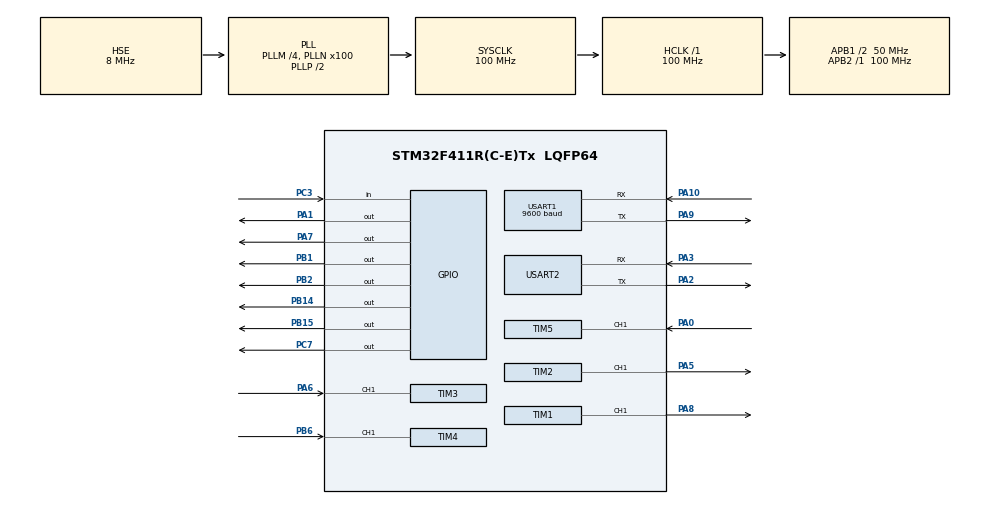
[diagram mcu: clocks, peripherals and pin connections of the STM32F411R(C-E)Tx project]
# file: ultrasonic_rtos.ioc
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Dma.Request0=USART1_RX
Dma.USART1_RX.0.Direction=DMA_PERIPH_TO_MEMORY
Dma.USART1_RX.0.FIFOMode=DMA_FIFOMODE_DISABLE
Dma.USART1_RX.0.Instance=DMA2_Stream2
Dma.USART1_RX.0.MemDataAlignment=DMA_MDATAALIGN_BYTE
Dma.USART1_RX.0.MemInc=DMA_MINC_ENABLE
Dma.USART1_RX.0.Mode=DMA_NORMAL
Dma.USART1_RX.0.PeriphDataAlignment=DMA_PDATAALIGN_BYTE
Dma.USART1_RX.0.PeriphInc=DMA_PINC_DISABLE
Dma.USART1_RX.0.Priority=DMA_PRIORITY_LOW
FREERTOS.Tasks01=defaultTask,24,128,StartDefaultTask,Default,NULL,Dynamic,NULL,NULL;distance1,8,128,distanceTask1,Default,NULL,Dynamic,NULL,NULL;distance2,8,128,distanceTask2,Default,NULL,Dynamic,NULL,NULL;distance3,8,128,distanceTask3,Default,NULL,Dynamic,NULL,NULL
FREERTOS.configUSE_NEWLIB_REENTRANT=1
Mcu.Family=STM32F4
Mcu.Name=STM32F411R(C-E)Tx
Mcu.Package=LQFP64
NVIC.DMA2_Stream2_IRQn=true\:5\:0\:false\:false\:true\:true\:false\:true\:true
NVIC.PriorityGroup=NVIC_PRIORITYGROUP_4
NVIC.TIM1_BRK_TIM9_IRQn=true\:15\:0\:false\:false\:true\:false\:false\:true\:true
NVIC.TIM3_IRQn=true\:5\:0\:false\:false\:true\:true\:true\:true\:true
NVIC.TIM4_IRQn=true\:5\:0\:false\:false\:true\:true\:true\:true\:true
NVIC.TIM5_IRQn=true\:5\:0\:false\:false\:true\:true\:true\:true\:true
NVIC.TimeBase=TIM1_BRK_TIM9_IRQn
NVIC.TimeBaseIP=TIM9
PA0-WKUP.Signal=S_TIM5_CH1
PA1.Signal=GPIO_Output
PA10.Mode=Asynchronous
PA10.Signal=USART1_RX
PA13.Mode=Serial_Wire
PA13.Signal=SYS_JTMS-SWDIO
PA14.Mode=Serial_Wire
PA14.Signal=SYS_JTCK-SWCLK
PA2.Mode=Asynchronous
PA2.Signal=USART2_TX
PA3.Mode=Asynchronous
PA3.Signal=USART2_RX
PA5.Signal=S_TIM2_CH1_ETR
PA6.Signal=S_TIM3_CH1
PA7.Signal=GPIO_Output
PA8.Signal=S_TIM1_CH1
PA9.Mode=Asynchronous
PA9.Signal=USART1_TX
PB1.Signal=GPIO_Output
PB14.Signal=GPIO_Output
PB15.Signal=GPIO_Output
PB2.Signal=GPIO_Output
PB6.Signal=S_TIM4_CH1
PC3.Signal=GPIO_Input
PC7.Signal=GPIO_Output
PH0\ -\ OSC_IN.Mode=HSE-External-Oscillator
PH0\ -\ OSC_IN.Signal=RCC_OSC_IN
PH1\ -\ OSC_OUT.Mode=HSE-External-Oscillator
PH1\ -\ OSC_OUT.Signal=RCC_OSC_OUT
ProjectManager.HeapSize=0x200
ProjectManager.StackSize=0x400
ProjectManager.TargetToolchain=STM32CubeIDE
RCC.48MHZClocksFreq_Value=50000000
RCC.AHBFreq_Value=100000000
RCC.APB1CLKDivider=RCC_HCLK_DIV2
RCC.APB1Freq_Value=50000000
RCC.APB1TimFreq_Value=100000000
RCC.APB2Freq_Value=100000000
RCC.APB2TimFreq_Value=100000000
RCC.CortexFreq_Value=100000000
RCC.HCLKFreq_Value=100000000
RCC.HSE_VALUE=8000000
RCC.HSI_VALUE=16000000
RCC.LSE_VALUE=32768
RCC.PLLM=4
RCC.PLLN=100
RCC.PLLSourceVirtual=RCC_PLLSOURCE_HSE
RCC.SYSCLKFreq_VALUE=100000000
RCC.SYSCLKSource=RCC_SYSCLKSOURCE_PLLCLK
RCC.VCOOutputFreq_Value=200000000
SH.S_TIM1_CH1.0=TIM1_CH1,PWM Generation1 CH1
SH.S_TIM2_CH1_ETR.0=TIM2_CH1,PWM Generation1 CH1
SH.S_TIM3_CH1.0=TIM3_CH1,Input_Capture1_from_TI1
SH.S_TIM4_CH1.0=TIM4_CH1,Input_Capture1_from_TI1
SH.S_TIM5_CH1.0=TIM5_CH1,Input_Capture1_from_TI1
TIM1.Channel-PWM\ Generation1\ CH1=TIM_CHANNEL_1
TIM1.Period=1000-1
TIM1.Prescaler=1000-1
TIM10.AutoReloadPreload=TIM_AUTORELOAD_PRELOAD_ENABLE
TIM10.Period=10000-1
TIM10.Prescaler=10000-1
TIM11.Period=100-1
TIM11.Prescaler=100-1
TIM2.Channel-PWM\ Generation1\ CH1=TIM_CHANNEL_1
TIM2.Period=1000-1
TIM2.Prescaler=1000-1
TIM3.Channel-Input_Capture1_from_TI1=TIM_CHANNEL_1
TIM3.ICFilter_CH1=15
TIM3.Prescaler=100-1
TIM4.Channel-Input_Capture1_from_TI1=TIM_CHANNEL_1
TIM4.ICFilter_CH1=15
TIM4.Prescaler=100-1
TIM5.Channel-Input_Capture1_from_TI1=TIM_CHANNEL_1
TIM5.ICFilter_CH1=15
TIM5.Prescaler=100-1
USART1.BaudRate=9600
USART1.VirtualMode=VM_ASYNC
USART2.VirtualMode=VM_ASYNC
VP_FREERTOS_VS_CMSIS_V2.Mode=CMSIS_V2
VP_SYS_VS_tim9.Mode=TIM9
VP_TIM10_VS_ClockSourceINT.Mode=Enable_Timer
VP_TIM11_VS_ClockSourceINT.Mode=Enable_Timer
VP_TIM1_VS_ClockSourceINT.Mode=Internal
VP_TIM2_VS_ClockSourceINT.Mode=Internal
VP_TIM3_VS_ClockSourceINT.Mode=Internal
VP_TIM4_VS_ClockSourceINT.Mode=Internal
VP_TIM5_VS_ClockSourceINT.Mode=Internal
board=custom

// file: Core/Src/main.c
/* USER CODE BEGIN Header */
/**
  ******************************************************************************
  * @file           : main.c
  * @brief          : Main program body
  ******************************************************************************
  * @attention
  *
  * Copyright (c) 2024 STMicroelectronics.
  * All rights reserved.
  *
  * This software is licensed under terms that can be found in the LICENSE file
  * in the root directory of this software component.
  * If no LICENSE file comes with this software, it is provided AS-IS.
  *
  ******************************************************************************
  */
/* USER CODE END Header */
#include "main.h"
#include "cmsis_os.h"
#include "dma.h"
#include "tim.h"
#include "usart.h"
#include "gpio.h"

/* USER CODE BEGIN PV */
//uint8_t rxData[1];
/* USER CODE END PV */

void SystemClock_Config(void);
void MX_FREERTOS_Init(void);
/* USER CODE BEGIN PFP */
//void HAL_UART_RxCpltCallback(UART_HandleTypeDef *huart)
//{
//	HAL_UART_Receive_DMA(&huart1, rxData, sizeof(rxData));
//}
/* USER CODE END PFP */

int main(void)
{

  /* MCU Configuration--------------------------------------------------------*/

  /* Reset of all peripherals, Initializes the Flash interface and the Systick. */
  HAL_Init();

  /* Configure the system clock */
  SystemClock_Config();

  /* Initialize all configured peripherals */
  MX_GPIO_Init();
  MX_DMA_Init();
  MX_TIM1_Init();
  MX_TIM2_Init();
  MX_TIM3_Init();
  MX_TIM4_Init();
  MX_TIM5_Init();
  MX_USART1_UART_Init();
  MX_USART2_UART_Init();
  MX_TIM11_Init();
  MX_TIM10_Init();
  /* USER CODE BEGIN 2 */

//  HAL_UART_Receive_DMA(&huart1, rxData, sizeof(rxData));

  HAL_TIM_PWM_Start(&htim1, TIM_CHANNEL_1);
  HAL_TIM_PWM_Start(&htim2, TIM_CHANNEL_1);

  HAL_TIM_IC_Start_IT(&htim3, TIM_CHANNEL_1);
  HAL_TIM_IC_Start_IT(&htim4, TIM_CHANNEL_1);
  HAL_TIM_IC_Start_IT(&htim5, TIM_CHANNEL_1);

  HAL_TIM_Base_Start(&htim10);

  HAL_TIM_Base_Start_IT(&htim11);

  /* USER CODE END 2 */

  /* Init scheduler */
  osKernelInitialize();

  /* Call init function for freertos objects (in freertos.c) */
  MX_FREERTOS_Init();

  /* Start scheduler */
  osKernelStart();

  /* We should never get here as control is now taken by the scheduler */
  /* Infinite loop */
  while (1)
  {

  }
}

void SystemClock_Config(void)
{
  RCC_OscInitTypeDef RCC_OscInitStruct = {0};
  RCC_ClkInitTypeDef RCC_ClkInitStruct = {0};

  /** Configure the main internal regulator output voltage
  */
  __HAL_RCC_PWR_CLK_ENABLE();
  __HAL_PWR_VOLTAGESCALING_CONFIG(PWR_REGULATOR_VOLTAGE_SCALE1);

  /** Initializes the RCC Oscillators according to the specified parameters
  * in the RCC_OscInitTypeDef structure.
  */
  RCC_OscInitStruct.OscillatorType = RCC_OSCILLATORTYPE_HSE;
  RCC_OscInitStruct.HSEState = RCC_HSE_ON;
  RCC_OscInitStruct.PLL.PLLState = RCC_PLL_ON;
  RCC_OscInitStruct.PLL.PLLSource = RCC_PLLSOURCE_HSE;
  RCC_OscInitStruct.PLL.PLLM = 4;
  RCC_OscInitStruct.PLL.PLLN = 100;
  RCC_OscInitStruct.PLL.PLLP = RCC_PLLP_DIV2;
  RCC_OscInitStruct.PLL.PLLQ = 4;
  if (HAL_RCC_OscConfig(&RCC_OscInitStruct) != HAL_OK)
  {
    Error_Handler();
  }

  /** Initializes the CPU, AHB and APB buses clocks
  */
  RCC_ClkInitStruct.ClockType = RCC_CLOCKTYPE_HCLK|RCC_CLOCKTYPE_SYSCLK
                              |RCC_CLOCKTYPE_PCLK1|RCC_CLOCKTYPE_PCLK2;
  RCC_ClkInitStruct.SYSCLKSource = RCC_SYSCLKSOURCE_PLLCLK;
  RCC_ClkInitStruct.AHBCLKDivider = RCC_SYSCLK_DIV1;
  RCC_ClkInitStruct.APB1CLKDivider = RCC_HCLK_DIV2;
  RCC_ClkInitStruct.APB2CLKDivider = RCC_HCLK_DIV1;

  if (HAL_RCC_ClockConfig(&RCC_ClkInitStruct, FLASH_LATENCY_3) != HAL_OK)
  {
    Error_Handler();
  }
}

void HAL_TIM_PeriodElapsedCallback(TIM_HandleTypeDef *htim)
{
  if (htim->Instance == TIM9) {
    HAL_IncTick();
  }
}

void Error_Handler(void)
{
  __disable_irq();
  while (1)
  {
  }
}

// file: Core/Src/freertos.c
/* USER CODE BEGIN Header */
/**
  ******************************************************************************
  * File Name          : freertos.c
  * Description        : Code for freertos applications
  ******************************************************************************
  * @attention
  *
  * Copyright (c) 2024 STMicroelectronics.
  * All rights reserved.
  *
  * This software is licensed under terms that can be found in the LICENSE file
  * in the root directory of this software component.
  * If no LICENSE file comes with this software, it is provided AS-IS.
  *
  ******************************************************************************
  */
/* USER CODE END Header */

#include "FreeRTOS.h"
#include "task.h"
#include "main.h"
#include "cmsis_os.h"

/* USER CODE BEGIN Includes */
#include "delay.h"
#include "stdio.h"
#include "math.h"
#include "usart.h"
#include "Button.h"
/* USER CODE END Includes */

/* USER CODE BEGIN PTD */
#ifdef __GNUC__
  /* With GCC, small printf (option LD Linker->Libraries->Small printf
     set to 'Yes') calls __io_putchar() */
  #define PUTCHAR_PROTOTYPE int __io_putchar(int ch)
#else
  #define PUTCHAR_PROTOTYPE int fputc(int ch, FILE *f)
#endif /* __GNUC__ */

PUTCHAR_PROTOTYPE
{
  /* Place your implementation of fputc here */
  /* e.g. write a character to the EVAL_COM1 and Loop until the end of transmission */
  HAL_UART_Transmit(&huart2, (uint8_t*)&ch, 1, 0xFFFF);
  HAL_UART_Transmit(&huart1, (uint8_t*) &ch, 1, 0xFFFF);

  return ch;
}

//#define babybird
#define eagle
/* USER CODE END PTD */

/* USER CODE BEGIN Variables */
uint32_t INC_Value11 = 0;
uint32_t INC_Value12 = 0;

uint32_t INC_Value21 = 0;
uint32_t INC_Value22= 0;

uint32_t INC_Value31= 0;
uint32_t INC_Value32 = 0;

uint32_t echoTime1 = 0;
uint32_t echoTime2 = 0;
uint32_t echoTime3 = 0;

uint8_t captureFlag1 = 0;
uint8_t captureFlag2 = 0;
uint8_t captureFlag3 = 0;

uint8_t distance1  = 0;
uint8_t distance2  = 0;
uint8_t distance3  = 0;

uint8_t rxData[1];

#ifdef babybird
int mode = 1;
int SPEED = 300;
#endif

#ifdef eagle
int mode = 0;
int SPEED = 480;
#endif

volatile uint32_t counter;

int set_back_flag = 0;
char flag[15] = "INIT";

int cnt = 0;

/* USER CODE END Variables */
/* Definitions for defaultTask */
osThreadId_t defaultTaskHandle;
const osThreadAttr_t defaultTask_attributes = {
  .name = "defaultTask",
  .stack_size = 128 * 4,
  .priority = (osPriority_t) osPriorityNormal,
};
/* Definitions for distance1 */
osThreadId_t distance1Handle;
const osThreadAttr_t distance1_attributes = {
  .name = "distance1",
  .stack_size = 128 * 4,
  .priority = (osPriority_t) osPriorityLow,
};
/* Definitions for distance2 */
osThreadId_t distance2Handle;
const osThreadAttr_t distance2_attributes = {
  .name = "distance2",
  .stack_size = 128 * 4,
  .priority = (osPriority_t) osPriorityLow,
};
/* Definitions for distance3 */
osThreadId_t distance3Handle;
const osThreadAttr_t distance3_attributes = {
  .name = "distance3",
  .stack_size = 128 * 4,
  .priority = (osPriority_t) osPriorityLow,
};

/* USER CODE BEGIN FunctionPrototypes */

void HAL_TIM_IC_CaptureCallback(TIM_HandleTypeDef *htim)
{
    if (htim == &htim3)  // if the interrupt source is channel1
    {
        if (captureFlag1 == 0) // if the first value is not captured
        {
          INC_Value11 = HAL_TIM_ReadCapturedValue(htim, TIM_CHANNEL_1); // read the first value
          captureFlag1 = 1;  // set the first captured as true

            // Now change the polarity to falling edge
            __HAL_TIM_SET_CAPTUREPOLARITY(htim, TIM_CHANNEL_1, TIM_INPUTCHANNELPOLARITY_FALLING);
        }

        else if (captureFlag1 == 1)   // if the first is already captured
        {
          INC_Value12 = HAL_TIM_ReadCapturedValue(htim, TIM_CHANNEL_1);  // read second value
            __HAL_TIM_SET_COUNTER(htim, 0);  // reset the counter

            if (INC_Value12 > INC_Value11)
            {
              echoTime1 = INC_Value12-INC_Value11;
            }

            else if (INC_Value11 > INC_Value12)
            {
              echoTime1 = (0xffff - INC_Value11) + INC_Value12;
            }

            //distance = echoTime * .034/2;
            distance1 = echoTime1 / 58;
            captureFlag1 = 0; // set it back to false

            // set polarity to rising edge
            __HAL_TIM_SET_CAPTUREPOLARITY(htim, TIM_CHANNEL_1, TIM_INPUTCHANNELPOLARITY_RISING);
            __HAL_TIM_DISABLE_IT(htim, TIM_IT_CC1);
        }
    }
    else if (htim == &htim4)  // if the interrupt source is channel1
	{
		if (captureFlag2 == 0) // if the first value is not captured
		{
		  INC_Value21 = HAL_TIM_ReadCapturedValue(htim, TIM_CHANNEL_1); // read the first value
		  captureFlag2 = 1;  // set the first captured as true

			// Now change the polarity to falling edge
			__HAL_TIM_SET_CAPTUREPOLARITY(htim, TIM_CHANNEL_1, TIM_INPUTCHANNELPOLARITY_FALLING);
		}

		else if (captureFlag2 == 1)   // if the first is already captured
		{
		  INC_Value22 = HAL_TIM_ReadCapturedValue(htim, TIM_CHANNEL_1);  // read second value
			__HAL_TIM_SET_COUNTER(htim, 0);  // reset the counter

			if (INC_Value22 > INC_Value21)
			{
			  echoTime2 = INC_Value22 - INC_Value21;
			}

			else if (INC_Value21 > INC_Value22)
			{
			  echoTime2 = (0xffff - INC_Value21) + INC_Value22;
			}

			//distance = echoTime * .034/2;
			distance2 = echoTime2 / 58;
			captureFlag2 = 0; // set it back to false

			// set polarity to rising edge
			__HAL_TIM_SET_CAPTUREPOLARITY(htim, TIM_CHANNEL_1, TIM_INPUTCHANNELPOLARITY_RISING);
			__HAL_TIM_DISABLE_IT(htim, TIM_IT_CC1);
		}
	}
    else if (htim == &htim5)  // if the interrupt source is channel1
	{
		if (captureFlag3 == 0) // if the first value is not captured
		{
		    INC_Value31 = HAL_TIM_ReadCapturedValue(htim, TIM_CHANNEL_1); // read the first value
		    captureFlag3 = 1;  // set the first captured as true

			// Now change the polarity to falling edge
			__HAL_TIM_SET_CAPTUREPOLARITY(htim, TIM_CHANNEL_1, TIM_INPUTCHANNELPOLARITY_FALLING);
		}

		else if (captureFlag3 == 1)   // if the first is already captured
		{
		    INC_Value32 = HAL_TIM_ReadCapturedValue(htim, TIM_CHANNEL_1);  // read second value
			__HAL_TIM_SET_COUNTER(htim, 0);  // reset the counter

			if (INC_Value32 > INC_Value31)
			{
			  echoTime3 = INC_Value32-INC_Value31;
			}

			else if (INC_Value31 > INC_Value32)
			{
			  echoTime3 = (0xffff - INC_Value31) + INC_Value32;
			}

			//distance = echoTime * .034/2;
			distance3 = echoTime3 / 58;
			captureFlag3 = 0; // set it back to false

			// set polarity to rising edge
			__HAL_TIM_SET_CAPTUREPOLARITY(htim, TIM_CHANNEL_1, TIM_INPUTCHANNELPOLARITY_RISING);
			__HAL_TIM_DISABLE_IT(htim, TIM_IT_CC1);
		}
	}
}

void HCSR04_Read (GPIO_TypeDef* port, uint16_t pin, TIM_HandleTypeDef* htim)
{
    HAL_GPIO_WritePin(port, pin, GPIO_PIN_SET);  // pull the TRIG pin HIGH
    delay_us(10);  // wait for 10 us
    HAL_GPIO_WritePin(port, pin, GPIO_PIN_RESET);  // pull the TRIG pin low

    __HAL_TIM_ENABLE_IT(htim, TIM_IT_CC1);
}

void HAL_UART_RxCpltCallback(UART_HandleTypeDef *huart)
{
		HAL_UART_Receive_DMA(&huart1, rxData, sizeof(rxData));

		if(rxData[0] == 'M')
		{
		   mode = 1;
		}
		else if(rxData[0] == 'A')
		{
			mode = 0;
		}
		else if(rxData[0] == 'u')
		{
			SPEED += 10;

			if (SPEED > 1000)
			{
				SPEED = 999;
			 }
		}
		else if(rxData[0] == 'i')
		{
			SPEED -= 10;

			if (SPEED < 0)
			{
			  SPEED = 0;
			}
		}
}

/* USER CODE END FunctionPrototypes */

void StartDefaultTask(void *argument);
void distanceTask1(void *argument);
void distanceTask2(void *argument);
void distanceTask3(void *argument);

void MX_FREERTOS_Init(void); /* (MISRA C 2004 rule 8.1) */

void MX_FREERTOS_Init(void) {

  /* Create the thread(s) */
  /* creation of defaultTask */
  defaultTaskHandle = osThreadNew(StartDefaultTask, NULL, &defaultTask_attributes);

  /* creation of distance1 */
  distance1Handle = osThreadNew(distanceTask1, NULL, &distance1_attributes);

  /* creation of distance2 */
  distance2Handle = osThreadNew(distanceTask2, NULL, &distance2_attributes);

  /* creation of distance3 */
  distance3Handle = osThreadNew(distanceTask3, NULL, &distance3_attributes);

}

void StartDefaultTask(void *argument)
{
  /* USER CODE BEGIN StartDefaultTask */
#ifdef eagle
	Button btn;

	Button_Init(&btn, GPIOC, GPIO_PIN_3);
#endif

  int set_count_flag = 0;
  /* Infinite loop */
  for(;;)
  {

#ifdef eagle
	  if (Button_getState(&btn) == ACT_PUSHED)
	  {
		  mode = (mode + 1) % 2;
	  }
#endif

	  if (((__HAL_TIM_GET_COUNTER(&htim10) % 1000) * 1000) % 1000 == 0)
	  {
		  printf("speed left : %d speed right : %d\r\n", TIM1->CCR1, TIM2->CCR1);
	  }

	  if (mode == 0)
	  {
		  if(rxData[0] == 'w')
		  {
			  HAL_GPIO_WritePin(GPIOB, GPIO_PIN_15, 1);
			  HAL_GPIO_WritePin(GPIOB, GPIO_PIN_14, 0);

			  TIM1->CCR1 = SPEED;

			  HAL_GPIO_WritePin(GPIOB, GPIO_PIN_1, 1);
			  HAL_GPIO_WritePin(GPIOB, GPIO_PIN_2, 0);

			  TIM2->CCR1 = SPEED;
		  }
		  else if(rxData[0] == 's')
		  {
			  HAL_GPIO_WritePin(GPIOB, GPIO_PIN_15, 0);
			  HAL_GPIO_WritePin(GPIOB, GPIO_PIN_14, 1);

			  TIM1->CCR1 = SPEED;

			  HAL_GPIO_WritePin(GPIOB, GPIO_PIN_1, 0);
			  HAL_GPIO_WritePin(GPIOB, GPIO_PIN_2, 1);

			  TIM2->CCR1 = SPEED;
			}
			else if(rxData[0] == 'a')
			{
			  HAL_GPIO_WritePin(GPIOB, GPIO_PIN_15, 0);
			  HAL_GPIO_WritePin(GPIOB, GPIO_PIN_14, 0);

			  TIM1->CCR1 = SPEED;

			  HAL_GPIO_WritePin(GPIOB, GPIO_PIN_1, 1);
			  HAL_GPIO_WritePin(GPIOB, GPIO_PIN_2, 0);

			  TIM2->CCR1 = SPEED;
			}
			else if(rxData[0] == 'd')
			{
			  HAL_GPIO_WritePin(GPIOB, GPIO_PIN_15, 1);
			  HAL_GPIO_WritePin(GPIOB, GPIO_PIN_14, 0);

			  TIM1->CCR1 = SPEED;

			  HAL_GPIO_WritePin(GPIOB, GPIO_PIN_1, 0);
			  HAL_GPIO_WritePin(GPIOB, GPIO_PIN_2, 0);

			  TIM2->CCR1 = SPEED;
			}
			else if(rxData[0] == 'k')
			{
			  HAL_GPIO_WritePin(GPIOB, GPIO_PIN_15, 0);
			  HAL_GPIO_WritePin(GPIOB, GPIO_PIN_14, 0);

			  HAL_GPIO_WritePin(GPIOB, GPIO_PIN_1, 0);
			  HAL_GPIO_WritePin(GPIOB, GPIO_PIN_2, 0);
			}
			else if(rxData[0] == 0)
			{
				HAL_GPIO_WritePin(GPIOB, GPIO_PIN_15, 0);
				HAL_GPIO_WritePin(GPIOB, GPIO_PIN_14, 0);

				HAL_GPIO_WritePin(GPIOB, GPIO_PIN_1, 0);
				HAL_GPIO_WritePin(GPIOB, GPIO_PIN_2, 0);
			}
	  }
	  else
	  {
#ifdef eagle
//		  if (distance1 > 50)
//		  {
//			  HAL_GPIO_WritePin(GPIOB, GPIO_PIN_15, 1);
//			  HAL_GPIO_WritePin(GPIOB, GPIO_PIN_14, 0);
//
//			  TIM1->CCR1 = SPEED;
//
//			  HAL_GPIO_WritePin(GPIOB, GPIO_PIN_1, 1);
//			  HAL_GPIO_WritePin(GPIOB, GPIO_PIN_2, 0);
//
//			  TIM2->CCR1 = SPEED;
//
//			  if (distance2 < 18)
//			  {
//				  HAL_GPIO_WritePin(GPIOB, GPIO_PIN_15, 1);
//				  HAL_GPIO_WritePin(GPIOB, GPIO_PIN_14, 0);
//
//				  TIM1->CCR1 = SPEED;
//
//				  HAL_GPIO_WritePin(GPIOB, GPIO_PIN_1, 0);
//				  HAL_GPIO_WritePin(GPIOB, GPIO_PIN_2, 0);
//
//				  TIM2->CCR1 = SPEED;
//			  }
//
//			  if (distance3 < 18)
//			  {
//				  HAL_GPIO_WritePin(GPIOB, GPIO_PIN_15, 0);
//				  HAL_GPIO_WritePin(GPIOB, GPIO_PIN_14, 0);
//
//				  TIM1->CCR1 = SPEED;
//
//				  HAL_GPIO_WritePin(GPIOB, GPIO_PIN_1, 1);
//				  HAL_GPIO_WritePin(GPIOB, GPIO_PIN_2, 0);
//
//				  TIM2->CCR1 = SPEED;
//			  }
//		  }
//		  else if (distance1 <= 50 && distance1 > 20)
//		  {
//			  HAL_GPIO_WritePin(GPIOB, GPIO_PIN_15, 1);
//			  HAL_GPIO_WritePin(GPIOB, GPIO_PIN_14, 0);
//
//			  TIM1->CCR1 = (SPEED * distance1) * 0.02;
//
//			  HAL_GPIO_WritePin(GPIOB, GPIO_PIN_1, 1);
//			  HAL_GPIO_WritePin(GPIOB, GPIO_PIN_2, 0);
//
//			  TIM2->CCR1 = (SPEED * distance1 ) * 0.02;
//
//			  if (distance2 < 18)
//			  {
//				  HAL_GPIO_WritePin(GPIOB, GPIO_PIN_15, 1);
//				  HAL_GPIO_WritePin(GPIOB, GPIO_PIN_14, 0);
//
//				  TIM1->CCR1 = (SPEED * distance1) * 0.02;
//
//				  HAL_GPIO_WritePin(GPIOB, GPIO_PIN_1, 1);
//				  HAL_GPIO_WritePin(GPIOB, GPIO_PIN_2, 1);
//
//				  TIM2->CCR1 = (SPEED * distance1) * 0.02;
//			  }
//
//			  if (distance3 < 18)
//			  {
//				  HAL_GPIO_WritePin(GPIOB, GPIO_PIN_15, 1);
//				  HAL_GPIO_WritePin(GPIOB, GPIO_PIN_14, 1);
//
//				  TIM1->CCR1 = (SPEED * distance1) * 0.02;
//
//				  HAL_GPIO_WritePin(GPIOB, GPIO_PIN_1, 1);
//				  HAL_GPIO_WritePin(GPIOB, GPIO_PIN_2, 0);
//
//				  TIM2->CCR1 = (SPEED * distance1) * 0.02;
//			  }
//		  }
//		  else if (distance1 <= 20)
//		  {
//			  if (distance2 > distance3)
//			  {
//				  HAL_GPIO_WritePin(GPIOB, GPIO_PIN_15, 0);
//				  HAL_GPIO_WritePin(GPIOB, GPIO_PIN_14, 1);
//
//				  HAL_GPIO_WritePin(GPIOB, GPIO_PIN_1, 1);
//				  HAL_GPIO_WritePin(GPIOB, GPIO_PIN_2, 0);
//
//				  TIM1->CCR1 = (SPEED + 300);
//
//				  TIM2->CCR1 = (SPEED - 150);
//			  }
//			  else if (distance2 < distance3)
//			  {
//				  HAL_GPIO_WritePin(GPIOB, GPIO_PIN_15, 1);
//				  HAL_GPIO_WritePin(GPIOB, GPIO_PIN_14, 0);
//
//				  HAL_GPIO_WritePin(GPIOB, GPIO_PIN_1, 0);
//				  HAL_GPIO_WritePin(GPIOB, GPIO_PIN_2, 1);
//
//				  TIM1->CCR1 = (SPEED - 150);
//
//				  TIM2->CCR1 = (SPEED + 300);
//			  }
//		  }

		  if (distance1 < 25)
		  {
			  HAL_GPIO_WritePin(GPIOB, GPIO_PIN_15, 0);
			  HAL_GPIO_WritePin(GPIOB, GPIO_PIN_14, 1);

			  HAL_GPIO_WritePin(GPIOB, GPIO_PIN_1, 0);
			  HAL_GPIO_WritePin(GPIOB, GPIO_PIN_2, 1);

			  if (distance2 > distance3)
			  {
				  TIM1->CCR1 = SPEED * 1.1; // 550

				  TIM2->CCR1 = SPEED * 0.3; // 150
			  }
			  else if (distance2 < distance3)
			  {
				  TIM1->CCR1 = SPEED * 0.3;

				  TIM2->CCR1 = SPEED * 1.1;
			  }
		  }
		  else
		  {
			  HAL_GPIO_WritePin(GPIOB, GPIO_PIN_15, 1);
			  HAL_GPIO_WritePin(GPIOB, GPIO_PIN_14, 0);

			  HAL_GPIO_WritePin(GPIOB, GPIO_PIN_1, 1);
			  HAL_GPIO_WritePin(GPIOB, GPIO_PIN_2, 0);

			  if (distance2 < 17)
			  {
				  HAL_GPIO_WritePin(GPIOB, GPIO_PIN_15, 1);
				  HAL_GPIO_WritePin(GPIOB, GPIO_PIN_14, 0);

				  HAL_GPIO_WritePin(GPIOB, GPIO_PIN_1, 1);
				  HAL_GPIO_WritePin(GPIOB, GPIO_PIN_2, 1);
			  }

			  if (distance3 < 17)
			  {
				  HAL_GPIO_WritePin(GPIOB, GPIO_PIN_15, 1);
				  HAL_GPIO_WritePin(GPIOB, GPIO_PIN_14, 1);

				  HAL_GPIO_WritePin(GPIOB, GPIO_PIN_1, 1);
				  HAL_GPIO_WritePin(GPIOB, GPIO_PIN_2, 0);
			  }

			  TIM1->CCR1 = SPEED;

			  TIM2->CCR1 = SPEED;
		  }
#endif

#ifdef babybird

		  if (distance1 < 26)
		  {
			  HAL_GPIO_WritePin(GPIOB, GPIO_PIN_15, 0);
			  HAL_GPIO_WritePin(GPIOB, GPIO_PIN_14, 1);

			  HAL_GPIO_WritePin(GPIOB, GPIO_PIN_1, 0);
			  HAL_GPIO_WritePin(GPIOB, GPIO_PIN_2, 1);

			  if (distance2 > distance3)
			  {
				  TIM1->CCR1 = SPEED + 100;

				  TIM2->CCR1 = SPEED - 150; // 150
			  }
			  else if (distance2 < distance3)
			  {
				  TIM1->CCR1 = SPEED - 150;

				  TIM2->CCR1 = SPEED + 100;
			  }
		  }
		  else
		  {
			  HAL_GPIO_WritePin(GPIOB, GPIO_PIN_15, 1);
			  HAL_GPIO_WritePin(GPIOB, GPIO_PIN_14, 0);

			  HAL_GPIO_WritePin(GPIOB, GPIO_PIN_1, 1);
			  HAL_GPIO_WritePin(GPIOB, GPIO_PIN_2, 0);

			  if (distance2 < 18)
			  {
				  HAL_GPIO_WritePin(GPIOB, GPIO_PIN_15, 1);
				  HAL_GPIO_WritePin(GPIOB, GPIO_PIN_14, 0);

				  HAL_GPIO_WritePin(GPIOB, GPIO_PIN_1, 1);
				  HAL_GPIO_WritePin(GPIOB, GPIO_PIN_2, 1);
			  }

			  if (distance3 < 18)
			  {
				  HAL_GPIO_WritePin(GPIOB, GPIO_PIN_15, 1);
				  HAL_GPIO_WritePin(GPIOB, GPIO_PIN_14, 1);

				  HAL_GPIO_WritePin(GPIOB, GPIO_PIN_1, 1);
				  HAL_GPIO_WritePin(GPIOB, GPIO_PIN_2, 0);
			  }
			  TIM1->CCR1 = SPEED;
			  TIM2->CCR1 = SPEED;
		  }
#endif

//		  if (set_back_flag == 1)
//		  {
//			  // left
//			  HAL_GPIO_WritePin(GPIOB, GPIO_PIN_15, 0);
//			  HAL_GPIO_WritePin(GPIOB, GPIO_PIN_14, 1);
//
//			  TIM1->CCR1 = SPEED * 1.5;
//
//			  // right
//			  HAL_GPIO_WritePin(GPIOB, GPIO_PIN_1, 0);
//			  HAL_GPIO_WritePin(GPIOB, GPIO_PIN_2, 1);
//
//			  TIM2->CCR1 = SPEED * 1.5;
//
//			  if (distance2 > distance3)
//			  {
//				  HAL_GPIO_WritePin(GPIOB, GPIO_PIN_15, 0);
//				  HAL_GPIO_WritePin(GPIOB, GPIO_PIN_14, 0);
//
//				  TIM1->CCR1 = SPEED;
//
//				  HAL_GPIO_WritePin(GPIOB, GPIO_PIN_1, 1);
//				  HAL_GPIO_WritePin(GPIOB, GPIO_PIN_2, 0);
//
//				  TIM2->CCR1 = SPEED * 1.5;
//			  }
//			  else if (distance2 < distance3)
//			  {
//				  HAL_GPIO_WritePin(GPIOB, GPIO_PIN_15, 1);
//				  HAL_GPIO_WritePin(GPIOB, GPIO_PIN_14, 0);
//
//				  TIM1->CCR1 = SPEED * 1.5;
//
//				  HAL_GPIO_WritePin(GPIOB, GPIO_PIN_1, 0);
//				  HAL_GPIO_WritePin(GPIOB, GPIO_PIN_2, 0);
//
//				  TIM2->CCR1 = SPEED;
//			  }
//
//			  cnt = 0;
//			  set_back_flag = 0;
//		  }
//		  else
//		  {
//			  if (distance1 < 18)
//			  {
//				  // left
//				  HAL_GPIO_WritePin(GPIOB, GPIO_PIN_15, 0);
//				  HAL_GPIO_WritePin(GPIOB, GPIO_PIN_14, 1);
//
//				  TIM1->CCR1 = SPEED * 1.2;
//
//				  // right
//				  HAL_GPIO_WritePin(GPIOB, GPIO_PIN_1, 0);
//				  HAL_GPIO_WritePin(GPIOB, GPIO_PIN_2, 1);
//
//				  TIM2->CCR1 = SPEED * 1.2;
//
//				  set_count_flag = 1;
//			  }
//			  else
//			  {
//				  HAL_GPIO_WritePin(GPIOB, GPIO_PIN_15, 1);
//				  HAL_GPIO_WritePin(GPIOB, GPIO_PIN_14, 0);
//
//				  TIM1->CCR1 = SPEED;
//
//				  HAL_GPIO_WritePin(GPIOB, GPIO_PIN_1, 1);
//				  HAL_GPIO_WritePin(GPIOB, GPIO_PIN_2, 0);
//
//				  TIM2->CCR1 = SPEED;
//
//				  if (distance2 < 18)
//				  {
//					  HAL_GPIO_WritePin(GPIOB, GPIO_PIN_15, 1);
//					  HAL_GPIO_WritePin(GPIOB, GPIO_PIN_14, 0);
//
//					  TIM1->CCR1 = SPEED;
//
//					  HAL_GPIO_WritePin(GPIOB, GPIO_PIN_1, 0);
//					  HAL_GPIO_WritePin(GPIOB, GPIO_PIN_2, 0);
//
//					  TIM2->CCR1 = SPEED;
//				  }
//
//				  if (distance3 < 18)
//				  {
//					  HAL_GPIO_WritePin(GPIOB, GPIO_PIN_15, 0);
//					  HAL_GPIO_WritePin(GPIOB, GPIO_PIN_14, 0);
//
//					  TIM1->CCR1 = SPEED;
//
//					  HAL_GPIO_WritePin(GPIOB, GPIO_PIN_1, 1);
//					  HAL_GPIO_WritePin(GPIOB, GPIO_PIN_2, 0);
//
//					  TIM2->CCR1 = SPEED;
//				  }
//
//				  if (set_count_flag)
//				  {
//					  set_count_flag = 0;
//					  cnt++;
//				  }
//			  }
//
//			  if (cnt > 3)
//			  {
//				  set_back_flag = 1;
//			  }
//		  }
	  }

	  osDelay(1);
  }
  /* USER CODE END StartDefaultTask */
}

void distanceTask1(void *argument)
{
  /* USER CODE BEGIN distanceTask1 */
  /* Infinite loop */
  for(;;)
  {
	  HCSR04_Read(GPIOA, GPIO_PIN_7, &htim3);

	  osDelay(50);
  }
  /* USER CODE END distanceTask1 */
}

void distanceTask2(void *argument)
{
  /* USER CODE BEGIN distanceTask2 */
  /* Infinite loop */
  for(;;)
  {
	  HCSR04_Read(GPIOC, GPIO_PIN_7, &htim4);

	  osDelay(50);
  }
  /* USER CODE END distanceTask2 */
}

void distanceTask3(void *argument)
{
  /* USER CODE BEGIN distanceTask3 */
  /* Infinite loop */
  for(;;)
  {
	  HCSR04_Read(GPIOA, GPIO_PIN_1, &htim5);

	  osDelay(50);
  }
  /* USER CODE END distanceTask3 */
}
